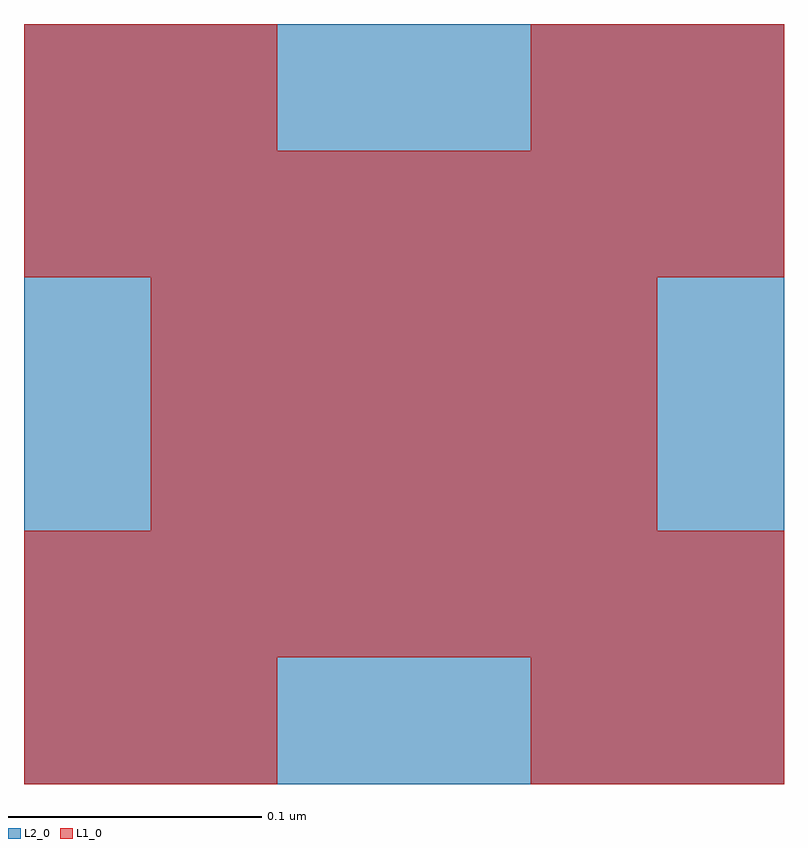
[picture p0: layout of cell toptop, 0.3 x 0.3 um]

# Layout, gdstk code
from math import pi, radians
import gdstk
lib = gdstk.Library(unit=1e-6, precision=5e-10)
def R(c, l, rs):  # rectangles x0, y0, x1, y1
    for r in rs: c.add(gdstk.rectangle(r[:2], r[2:], *l))
L1_0 = (1, 0)
L2_0 = (2, 0)

test = lib.new_cell('test')
R(test, L1_0, [(0,0,0.1,0.1), (0.05,0.05,0.15,0.15)])

top = lib.new_cell('top')
R(top, L2_0, [(0,0,0.15,0.15)])
top.add(gdstk.Reference(test, (0,0)))

toptop = lib.new_cell('toptop')
toptop.add(gdstk.Reference(top, (0,0), rotation=3*pi/2))
toptop.add(gdstk.Reference(top, (0,0), rotation=pi))
toptop.add(gdstk.Reference(top, (0,0), rotation=pi/2))
toptop.add(gdstk.Reference(top, (0,0)))

lib.write_gds('toptop.gds')
